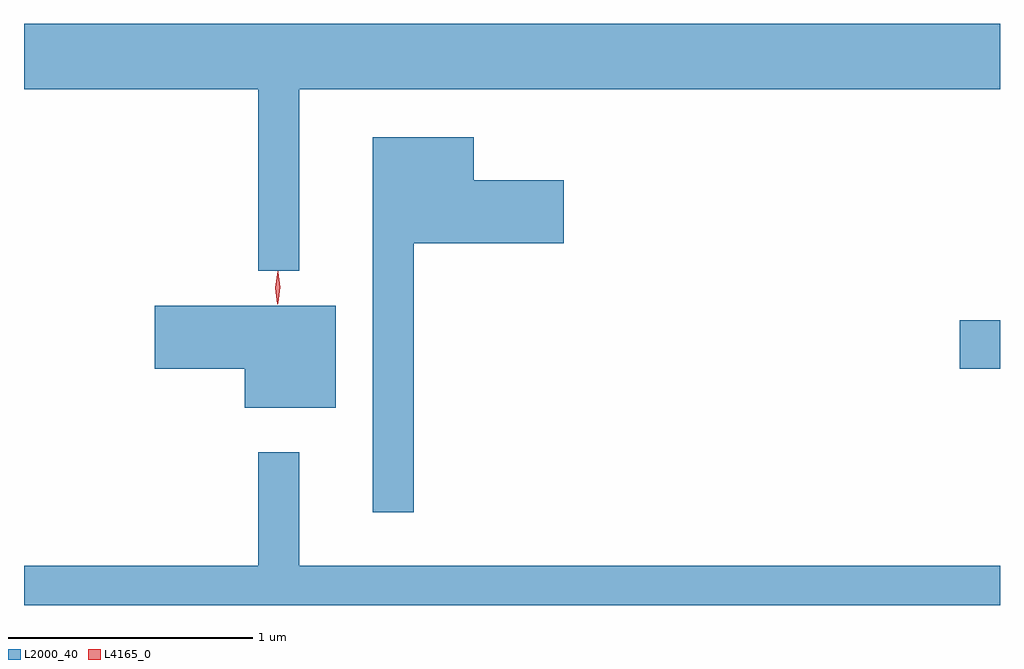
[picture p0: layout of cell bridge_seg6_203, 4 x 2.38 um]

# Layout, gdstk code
import gdstk
lib = gdstk.Library(unit=1e-6, precision=1e-09)
def R(c, l, rs):  # rectangles x0, y0, x1, y1
    for r in rs: c.add(gdstk.rectangle(r[:2], r[2:], *l))
def P(c, l, *ps):  # polygons
    for p in ps: c.add(gdstk.Polygon(p, *l))
L2000_40 = (2000, 40)
L4165_0 = (4165, 0)

bridge_seg6_203 = lib.new_cell('bridge_seg6_203')
R(bridge_seg6_203, L2000_40, [(1063.676,1531.131,1063.841,1531.329)])
P(bridge_seg6_203, L2000_40, [(1060.969,1532.276),(1063.841,1532.276),(1063.841,1532.544),(1059.841,1532.544),(1059.841,1532.276),(1060.801,1532.276),(1060.801,1531.533),(1060.969,1531.533)],
  [(1061.439,1531.646),(1062.054,1531.646),(1062.054,1531.904),(1061.684,1531.904),(1061.684,1532.079),(1061.271,1532.079),(1061.271,1530.543),(1061.439,1530.543)],
  [(1061.119,1531.389),(1060.376,1531.389),(1060.376,1531.131),(1060.746,1531.131),(1060.746,1530.971),(1061.119,1530.971)],
  [(1063.841,1530.324),(1060.969,1530.324),(1060.969,1530.788),(1060.801,1530.788),(1060.801,1530.324),(1059.841,1530.324),(1059.841,1530.162),(1063.841,1530.162)])
P(bridge_seg6_203, L4165_0, [(1060.882,1531.4),(1060.882,1531.4),(1060.872,1531.464),(1060.882,1531.526),(1060.882,1531.527),(1060.883,1531.526),(1060.892,1531.464),(1060.883,1531.4)],
  [(1060.879,1531.394),(1060.87,1531.462),(1060.881,1531.53),(1060.881,1531.53),(1060.882,1531.53),(1060.89,1531.462),(1060.88,1531.394),(1060.88,1531.394)])

lib.write_gds('bridge_seg6_203.gds')
